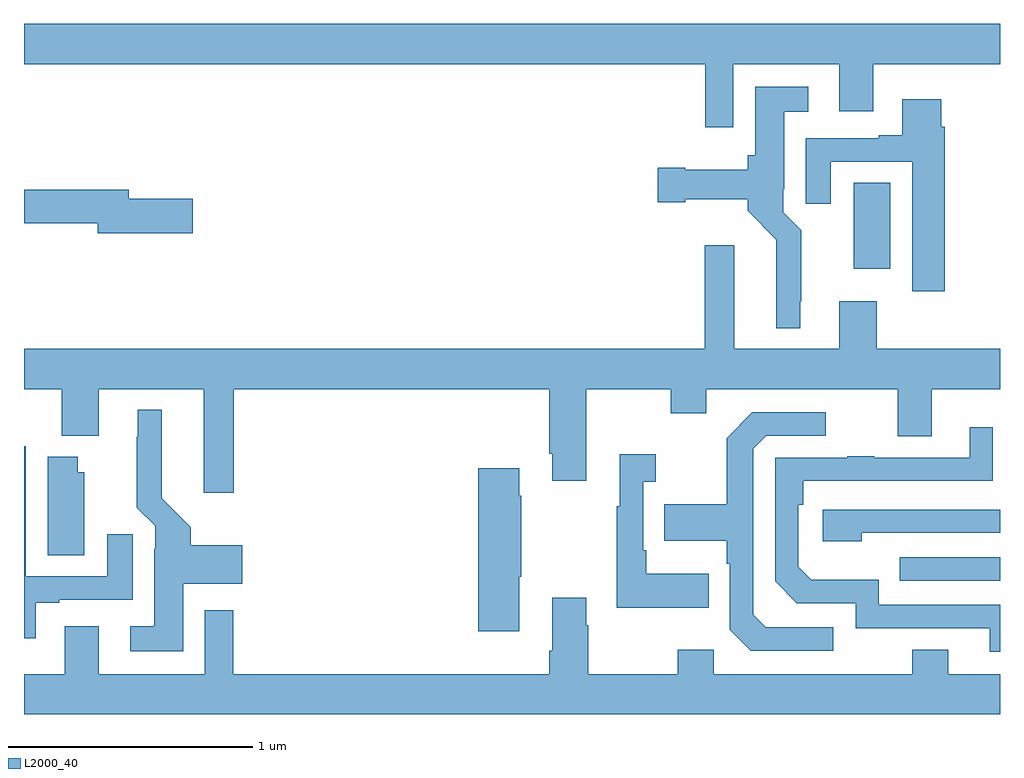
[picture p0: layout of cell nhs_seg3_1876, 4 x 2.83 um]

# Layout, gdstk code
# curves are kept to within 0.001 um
import gdstk
lib = gdstk.Library(unit=1e-6, precision=1e-09)
def R(c, l, rs):  # rectangles x0, y0, x1, y1
    for r in rs: c.add(gdstk.rectangle(r[:2], r[2:], *l))
def P(c, l, *ps):  # polygons
    for p in ps: c.add(gdstk.Polygon(p, *l))
L2000_40 = (2000, 40)

nhs_seg3_1876 = lib.new_cell('nhs_seg3_1876')
R(nhs_seg3_1876, L2000_40, [(210.589,732.099,211,732.195), (210.401,733.377,210.55,733.73)])
P(nhs_seg3_1876, L2000_40, [(209.907,734.216),(210.341,734.216),(210.341,734.022),(210.481,734.022),(210.481,734.216),(211,734.216),(211,734.38),(207,734.38),(207,734.216),(209.791,734.216),(209.791,733.956),(209.907,733.956)],
  [(210.181,733.243),(210.185,733.243),(210.185,733.534),(210.111,733.608),(210.111,733.702),(210.115,733.702),(210.115,734.021),(210.214,734.021),(210.214,734.122),(209.996,734.122),(209.996,733.842),(209.966,733.842),(209.966,733.783),(209.71,733.783),(209.71,733.791),(209.598,733.791),(209.598,733.649),(209.71,733.649),(209.71,733.661),(209.966,733.661),(209.966,733.614),(210.084,733.496),(210.083,733.133),(210.181,733.133)],
  [(210.773,733.958),(210.76,733.958),(210.76,734.071),(210.599,734.071),(210.599,733.924),(210.503,733.924),(210.503,733.911),(210.203,733.911),(210.203,733.644),(210.307,733.644),(210.307,733.815),(210.641,733.815),(210.641,733.284),(210.773,733.284)],
  [(207.691,733.664),(207.43,733.664),(207.43,733.7),(207,733.7),(207,733.564),(207.302,733.564),(207.302,733.522),(207.691,733.522)],
  [(207,732.884),(207.155,732.884),(207.155,732.692),(207.307,732.692),(207.307,732.884),(207.737,732.884),(207.737,732.459),(207.86,732.459),(207.86,732.884),(209.153,732.884),(209.153,732.619),(209.165,732.619),(209.165,732.507),(209.305,732.507),(209.305,732.884),(209.65,732.884),(209.65,732.785),(209.797,732.785),(209.797,732.884),(210.581,732.884),(210.581,732.69),(210.721,732.69),(210.721,732.884),(211,732.884),(211,733.048),(210.494,733.048),(210.494,733.243),(210.341,733.243),(210.341,733.048),(209.911,733.048),(209.911,733.474),(209.789,733.474),(209.789,733.048),(207,733.048)],
  [(207.652,732.086),(207.895,732.086),(207.895,732.244),(207.683,732.244),(207.683,732.318),(207.565,732.436),(207.565,732.799),(207.467,732.799),(207.467,732.689),(207.463,732.689),(207.463,732.398),(207.537,732.324),(207.537,732.23),(207.533,732.23),(207.533,731.911),(207.435,731.911),(207.435,731.81),(207.652,731.81)],
  [(210.316,731.907),(210.039,731.907),(209.988,731.958),(209.988,732.639),(210.042,732.693),(210.286,732.693),(210.286,732.789),(209.985,732.789),(209.88,732.683),(209.88,732.411),(209.623,732.411),(209.623,732.263),(209.88,732.263),(209.88,732.167),(209.892,732.167),(209.892,731.898),(209.979,731.811),(210.316,731.811)],
  [(211,732),(210.504,732),(210.504,732.103),(210.227,732.103),(210.174,732.156),(210.174,732.41),(210.194,732.41),(210.194,732.507),(210.971,732.508),(210.971,732.727),(210.875,732.727),(210.875,732.603),(210.485,732.603),(210.485,732.608),(210.373,732.608),(210.373,732.603),(210.078,732.603),(210.078,732.096),(210.168,732.006),(210.408,732.006),(210.408,731.904),(210.959,731.904),(210.959,731.808),(211,731.808)],
  [(207.049,732.009),(207.145,732.009),(207.145,732.021),(207.445,732.021),(207.445,732.289),(207.341,732.289),(207.341,732.117),(207.007,732.117),(207.007,732.649),(207,732.649),(207,731.862),(207.049,731.862)],
  [(209.807,732.127),(209.551,732.127),(209.551,732.223),(209.538,732.223),(209.538,732.503),(209.59,732.503),(209.59,732.616),(209.441,732.616),(209.441,732.403),(209.43,732.403),(209.43,731.987),(209.807,731.987)],
  [(207.247,732.543),(207.22,732.543),(207.22,732.607),(207.098,732.607),(207.098,732.202),(207.247,732.202)],
  [(209.029,732.115),(209.037,732.115),(209.037,732.446),(209.029,732.446),(209.029,732.559),(208.862,732.559),(208.862,731.892),(209.029,731.892)],
  [(210.434,732.294),(211,732.294),(211,732.39),(210.273,732.39),(210.273,732.26),(210.434,732.26)],
  [(207.167,731.911),(207.167,731.716),(207,731.716),(207,731.552),(211,731.552),(211,731.716),(210.787,731.716),(210.787,731.815),(210.64,731.815),(210.64,731.716),(209.826,731.716),(209.826,731.815),(209.68,731.815),(209.68,731.716),(209.313,731.716),(209.313,731.915),(209.305,731.915),(209.305,732.028),(209.165,732.028),(209.165,731.812),(209.153,731.812),(209.153,731.716),(207.857,731.716),(207.857,731.977),(207.741,731.977),(207.741,731.716),(207.307,731.716),(207.307,731.911)])

lib.write_gds('nhs_seg3_1876.gds')
